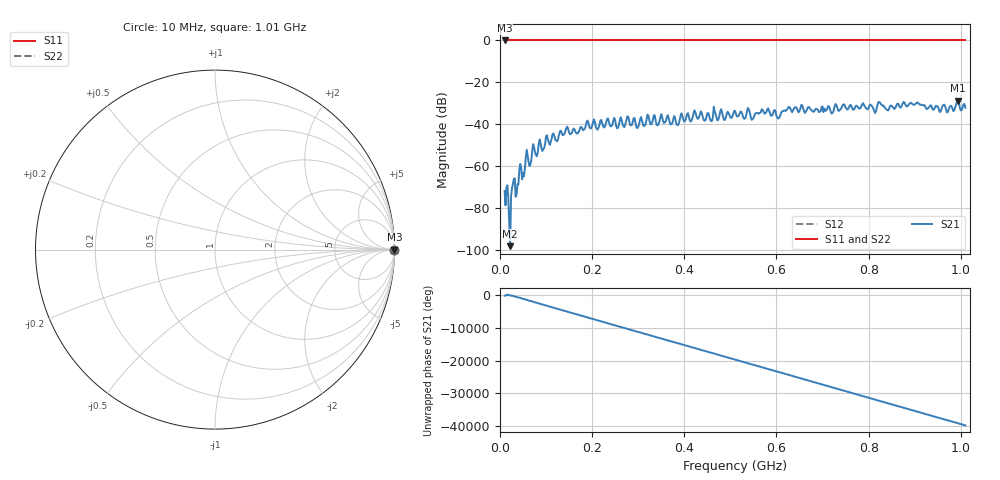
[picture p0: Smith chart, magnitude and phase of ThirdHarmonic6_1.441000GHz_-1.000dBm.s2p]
! 8/16/2025 4:40:03 PM
! C:\ANRITSUVNA\TEMP\TEMP.S2P
! CHANNEL.1
! TR.MEASUREMENT
! RAW.DATA
! RF.CORRECTION.OFF
! AVERAGING.OFF
! IF.BANDWIDTH: 5KHZ
! SWEEPTYPE:  FREQ.SWEEP(Linear)
! Reference Plane Port Info
! PORT:  PORT1  PORT2
! DISTANCE:  0  m  0  m
! TIME:  0  s  0  s
! PHASE.OFFSET:  0  deg.  0  deg.
! LOSS:  0  dB  0  dB
! REF.LOSS:  0  dB  0  dB
! REF.FREQ:  0  Hz  0  Hz
! Power Info
! POWER:  -20  dBm  -20  dBm
! EFF.POWER:  -20  dBm  -20  dBm
! SOURCE.ATTEN:  0  dB  0  dB
! TEST.ATTEN:  0  dB  0  dB
# GHZ S RI R 50.0
! FREQ.GHZ  S11RE  S11IM  S21RE  S21IM  S12RE  S12IM  S22RE  S22IM
!; PortSelection: Port_12
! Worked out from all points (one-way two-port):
!   501 points, 10 MHz to 1.01 GHz, reference 50 ohm
!   highest |S21| = -28.79 dB at 994 MHz (marker M1); lowest = -98.3 dB at 22 MHz (marker M2)
!   lowest |S11| = 0.0 dB at 10 MHz (marker M3)
!   |S11| at or under -10 dB: nowhere
!   |S22| runs from 0.0 to 0.0 dB; largest |S21 - S12| = 1
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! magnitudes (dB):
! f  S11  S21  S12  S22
! 10 MHz  0.0  -71.9  0.0  0.0
! 22 MHz  0.0  -98.3  0.0  0.0
! 28 MHz  0.0  -68.5  0.0  0.0
! 36 MHz  0.0  -73.5  0.0  0.0
! 42 MHz  0.0  -61.6  0.0  0.0
! 74 MHz  0.0  -51.2  0.0  0.0
! 144 MHz  0.0  -41.8  0.0  0.0
! 178 MHz  0.0  -41.8  0.0  0.0
! 276 MHz  0.0  -36.5  0.0  0.0
! 344 MHz  0.0  -40.0  0.0  0.0
! 510 MHz  0.0  -33.7  0.0  0.0
! 580 MHz  0.0  -32.9  0.0  0.0
! 604 MHz  0.0  -37.3  0.0  0.0
! 626 MHz  0.0  -31.8  0.0  0.0
! 678 MHz  0.0  -33.8  0.0  0.0
! 814 MHz  0.0  -34.6  0.0  0.0
! 824 MHz  0.0  -29.5  0.0  0.0
! 844 MHz  0.0  -32.9  0.0  0.0
! 906 MHz  0.0  -29.6  0.0  0.0
! 972 MHz  0.0  -34.1  0.0  0.0
! 994 MHz  0.0  -28.8  0.0  0.0
! 1.01 GHz  0.0  -32.2  0.0  0.0
